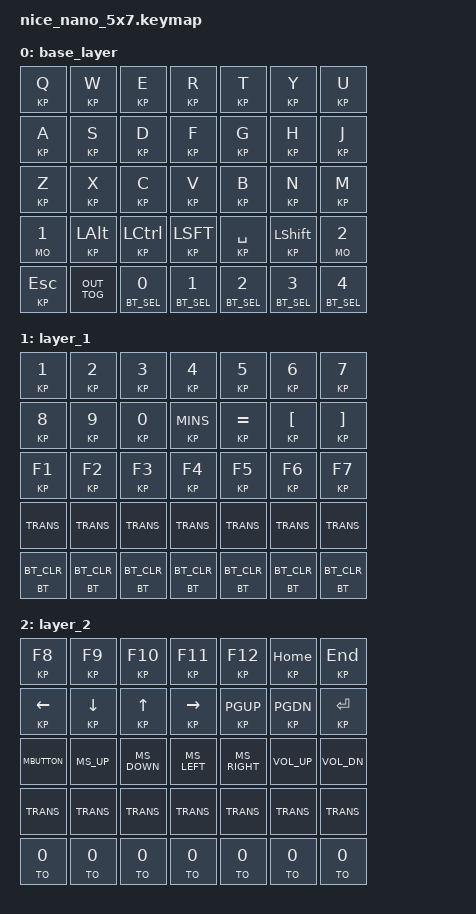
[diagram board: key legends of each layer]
#include <dt-bindings/zmk/keys.h>
#include <dt-bindings/zmk/bt.h>
#include <dt-bindings/zmk/outputs.h>

/ {
    keymap {
        compatible = "zmk,keymap";

        base_layer {
            bindings = <
&KP Q   &KP W   &KP E   &KP R   &KP T   &KP Y   &KP U
&KP A   &KP S   &KP D   &KP F   &KP G   &KP H   &KP J
&KP Z   &KP X   &KP C   &KP V   &KP B   &KP N   &KP M
&MO 1   &KP LALT &KP LCTL &KP LSFT &KP SPC &KP LSHFT &MO 2  // ปุ่มสลับ Layer
&KP ESC &OUT_TOG &BT_SEL 0 &BT_SEL 1 &BT_SEL 2 &BT_SEL 3 &BT_SEL 4 // ปุ่มควบคุม Bluetooth/Output
            >;
        };

        // Layer 1: Numbers, Symbols, F-keys
        layer_1 {
            bindings = <
&KP N1  &KP N2  &KP N3  &KP N4  &KP N5  &KP N6  &KP N7
&KP N8  &KP N9  &KP N0  &KP MINS &KP EQUAL &KP LBKT &KP RBKT
&KP F1  &KP F2  &KP F3  &KP F4  &KP F5  &KP F6  &KP F7
&TRANS  &TRANS  &TRANS  &TRANS  &TRANS  &TRANS  &TRANS
&BT BT_CLR &BT BT_CLR &BT BT_CLR &BT BT_CLR &BT BT_CLR &BT BT_CLR &BT BT_CLR // ล้างการจับคู่
            >;
        };

        // Layer 2: Navigation and Media
        layer_2 {
            bindings = <
&KP F8  &KP F9  &KP F10 &KP F11 &KP F12 &KP HOME &KP END
&KP LEFT &KP DOWN &KP UP &KP RIGHT &KP PGUP &KP PGDN &KP ENTER
&MBUTTON &MS_UP &MS_DOWN &MS_LEFT &MS_RIGHT &VOL_UP &VOL_DN
&TRANS  &TRANS  &TRANS  &TRANS  &TRANS  &TRANS  &TRANS
&TO 0   &TO 0   &TO 0   &TO 0   &TO 0   &TO 0   &TO 0
            >;
        };
    };
};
